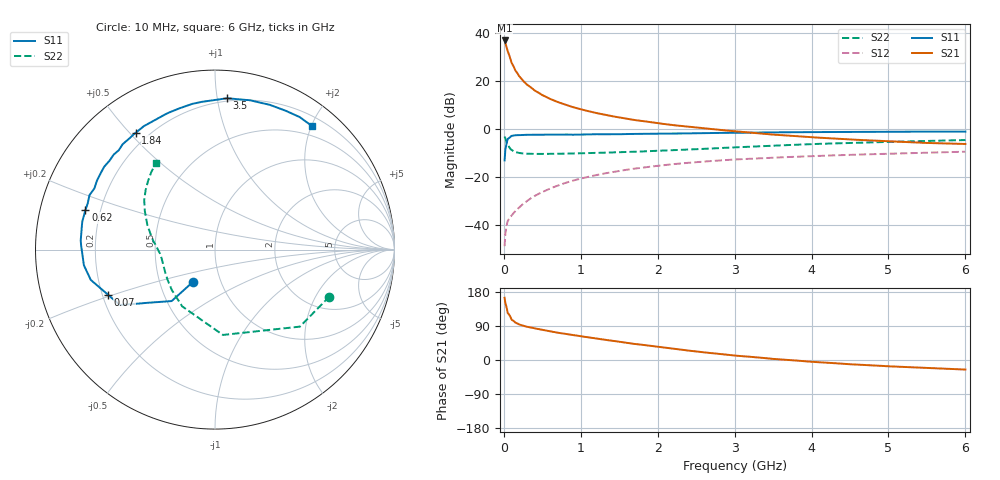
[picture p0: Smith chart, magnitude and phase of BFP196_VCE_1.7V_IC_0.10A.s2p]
! Infineon Technologies  Discrete & RF Semiconductors
! BFP196
! VCE = 1.7 V,  IC = 0.10A
! Common Emitter S-Parameters:  Jan 2016
# GHz  S  MA  R  50
!  f  S11  S21  S12  S22
! GHz  MAG  ANG  MAG  ANG  MAG  ANG  MAG  ANG
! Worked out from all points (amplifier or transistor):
!   210 points, 10 MHz to 6 GHz, reference 50 ohm
!   highest |S21| = 36.8 dB at 10 MHz (marker M1)
!   |S21| within 3 dB of that: start of sweep to 37.28 MHz
!   unconditionally stable (mu >= 1): 236.6 MHz to end of sweep
!   at 185 MHz: K = 0.93, MSG = 27.9 dB, |S12| = -33.2 dB
!   at 1.52 GHz: K = 1.12, MAG = 8.9 dB, |S12| = -17.4 dB
!   at 6 GHz: K = 1.02, MAG = 0.7 dB, |S12| = -9.5 dB
!   S11 on the Smith chart (normalised r, x): 10 MHz: 0.73, -0.28; 70 MHz: 0.22, -0.19; 620 MHz: 0.14, +0.15; 1.84 GHz: 0.15, +0.52; 3.5 GHz: 0.18, +1.07; 6 GHz: 0.34, +2.00
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0.01  0.2202 -124.5  69.13 164.2  0.0036 70.7  0.6889 -22.3
0.02  0.3748 -130.1  62.03 149.7  0.0066 62.6  0.6388 -42.2
0.05  0.6134 -149.8  41.47 124.0  0.012 52.0  0.4776 -84.7
0.07  0.6464 -157.0  34.1 119.2  0.0134 51.7  0.4144 -96.5
0.1  0.7125 -166.3  23.85 106.5  0.0156 51.4  0.3652 -120.1
0.15  0.7357 -173.2  16.41 98.7  0.0193 55.7  0.3294 -137.0
0.195  0.7381 -177.3  12.85 94.3  0.0226 59.5  0.3151 -145.9
0.24  0.7439 179.5  10.45 91.1  0.0264 61.5  0.3079 -152.3
0.3  0.7499 176.1  8.335 87.7  0.0313 64.2  0.3035 -157.7
0.4  0.7523 171.2  6.291 83.3  0.04 66.4  0.3003 -163.7
0.5  0.7557 168.0  5.037 79.6  0.0482 67.3  0.3001 -167.6
0.62  0.7546 163.0  4.084 75.0  0.0587 67.0  0.3011 -170.5
0.8  0.7623 156.6  3.165 68.9  0.0747 65.6  0.3043 -173.9
1.02  0.7624 149.1  2.501 62.1  0.0937 63.3  0.3099 -177.0
1.34  0.7704 138.7  1.92 52.6  0.1201 58.8  0.3197 179.2
1.84  0.7868 124.1  1.426 39.1  0.1583 51.0  0.3399 173.7
2.02  0.7938 119.4  1.297 34.4  0.171 48.0  0.3497 171.3
3.1  0.8285 93.1  0.861 10.2  0.2338 31.2  0.4167 156.6
3.5  0.8459 85.4  0.758 2.9  0.2516 25.5  0.4457 151.3
4.1  0.855 75.2  0.653 -5.9  0.2732 17.9  0.4862 143.9
5.1  0.869 62.0  0.542 -17.4  0.3059 6.7  0.5385 133.3
6  0.8752 52.0  0.483 -25.2  0.3335 -3.5  0.5837 124.3
